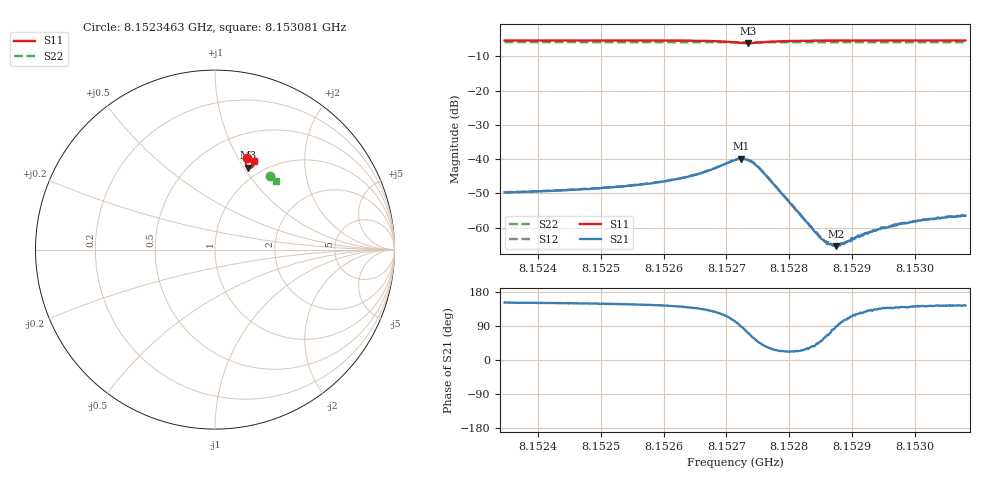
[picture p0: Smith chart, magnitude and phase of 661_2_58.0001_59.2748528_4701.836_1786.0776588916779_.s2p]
#  HZ  S  RI  R  50.00
! Rohde & Schwarz Vector Network Analyzer
! Rohde-Schwarz,ZNB20-2Port,1311601062101988,3.16
! Created: UTC 3/21/2024, 1:19:57 AM
! freq[Hz]  re:S11  im:S11  re:S21  im:S21  re:S12  im:S12  re:S22  im:S22
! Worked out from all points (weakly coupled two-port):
!   401 points, 8.1523463 GHz to 8.153081 GHz, reference 50 ohm
!   highest |S21| = -39.87 dB at 8.1527229 GHz (marker M1); lowest = -65.4 dB at 8.1528753 GHz (marker M2)
!   lowest |S11| = -6.1 dB at 8.1527339 GHz (marker M3), VSWR 2.95, Z = 43.4 + j52.4 ohm
!   |S11| at or under -10 dB: nowhere
!   |S22| runs from -5.9 to -5.8 dB; largest |S21 - S12| = 0.00028
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8.1523463e9  0.1806 0.5094  -0.00288 0.00155  -0.00288 0.00164  0.3043 0.4114
8.15246937e9  0.1906 0.5057  -0.00313 0.00185  -0.00314 0.00191  0.3103 0.4067
8.15253733e9  0.1968 0.503  -0.00338 0.0022  -0.00339 0.0022  0.3138 0.4037
8.15259244e9  0.2026 0.4997  -0.00374 0.0027  -0.00371 0.00276  0.3165 0.4013
8.15265489e9  0.2114 0.4913  -0.00435 0.00421  -0.00433 0.00429  0.3196 0.3985
8.15271367e9  0.2088 0.4616  -0.00197 0.00951  -0.00194 0.00957  0.3219 0.3953
8.15272286e9  0.1998 0.4564  0.000194 0.0102  0.000112 0.0102  0.3218 0.3949
8.15273388e9  0.1855 0.4573  0.00301 0.00924  0.00308 0.00941  0.3219 0.3947
8.1527449e9  0.1747 0.4665  0.00476 0.00706  0.00497 0.00705  0.3222 0.3947
8.15275408e9  0.1718 0.4761  0.00508 0.00492  0.00525 0.00496  0.3228 0.3947
8.15283674e9  0.194 0.5  0.000782 0.000581  0.000806 0.000565  0.3277 0.392
8.1528496e9  0.1965 0.5001  0.000468 0.000544  0.000511 0.000539  0.3283 0.3915
8.15285695e9  0.1976 0.5001  0.00031 0.000539  0.000348 0.000529  0.3287 0.3911
8.15286429e9  0.1987 0.5  0.000192 0.000535  0.000206 0.000535  0.3291 0.3908
8.15287531e9  0.2003 0.4999  1.06e-05 0.000536  -5.31e-07 0.000568  0.3296 0.3902
8.15288266e9  0.2014 0.4998  -9.69e-05 0.000576  -6.27e-05 0.00058  0.3302 0.39
8.15293042e9  0.207 0.4987  -0.000585 0.000645  -0.000559 0.000667  0.3324 0.3879
8.15294695e9  0.2086 0.4982  -0.000712 0.000693  -0.000716 0.000705  0.3333 0.3873
8.15295981e9  0.2099 0.498  -0.000763 0.000703  -0.00076 0.00071  0.3339 0.3866
8.15297634e9  0.2113 0.4974  -0.000851 0.000741  -0.000873 0.000749  0.3347 0.386
8.15301491e9  0.2148 0.4963  -0.00103 0.000785  -0.00104 0.000818  0.3365 0.3843
8.15308104e9  0.22 0.4944  -0.0012 0.000883  -0.0012 0.000914  0.3396 0.3813
